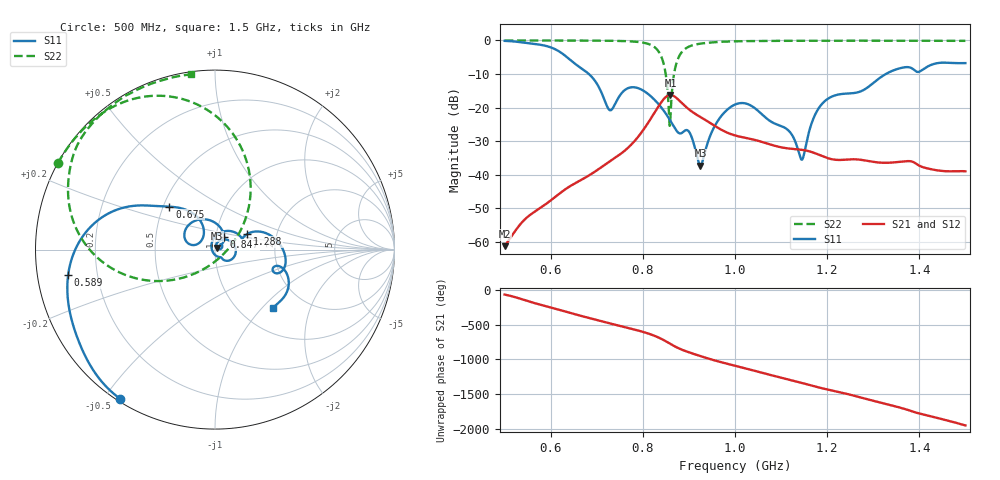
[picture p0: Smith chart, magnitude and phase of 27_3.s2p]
! TOUCHSTONE file generated by CST MICROWAVE STUDIO
! Date and time: Fri Oct 30 08:08:40 2020
! Project name: Scenario_1_Circular_Tissue_out_of_Line.cst
! Parameters = {dy1=104.866; L_HA=400; MT=2.54; Rad_Dielectric=30; Rad_Lower=7.3; Rad_Upper=30; a_HA=580; a_WG=246; b_HA=500; b_WG=121; c_HA=0; c_WG=187; d_feed=85; dx1=520; h_feed=15; h_lower=18; h_upper=40}
! Header version: 2018
! Port assignment regex: !\s*Touchstone port\s*([0-9]+)\s*=\s*(CST MWS port|CST DS port)\s*([0-9]+|Zmin|Zmax)\s*\(\"(.*)\"\)(\s*mode\s*([0-9]+))?.*
! Touchstone port assignment:
! Touchstone port 1 = CST MWS port 1 ("")
! Touchstone port 2 = CST MWS port 2 ("")
# GHz S DB R 50
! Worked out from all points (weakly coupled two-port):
!   1001 points, 500 MHz to 1.5 GHz, reference 50 ohm
!   highest |S21| = -16.26 dB at 860 MHz (marker M1); lowest = -61.3 dB at 500 MHz (marker M2)
!   lowest |S11| = -37.3 dB at 925 MHz (marker M3), VSWR 1.03, Z = 51 + j0.894 ohm
!   |S11| at or under -10 dB: 682.7 MHz to 1.327 GHz (644.8 MHz wide, 64.2 % of centre)
!   |S22| runs from -25.5 to 0.0 dB; largest |S21 - S12| = 6.3e-06
!   S11 on the Smith chart (normalised r, x): 500 MHz: 0.01, -0.55; 589 MHz: 0.09, -0.09; 675 MHz: 0.54, +0.29; 847 MHz: 1.10, +0.15; 1.288 GHz: 1.41, +0.26; 1.5 GHz: 1.40, -1.16
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0.5  -0.13 -122.5  -61.34 -63.4  -61.34 -63.4  -0.01 151.1
0.589  -1.61 -170.1  -48.85 129.5  -48.85 129.5  -0.02 145.0
0.627  -4.10 161.0  -44.84 60.6  -44.84 60.6  -0.03 142.0
0.667  -8.37 140.8  -41.54 -13.3  -41.54 -13.3  -0.04 138.4
0.675  -9.15 136.7  -40.92 -27.2  -40.92 -27.2  -0.05 137.6
0.728  -20.78 141.5  -36.11 -118.5  -36.11 -118.5  -0.10 131.2
0.775  -13.97 142.0  -31.05 163.0  -31.05 163.0  -0.29 121.8
0.834  -18.99 68.4  -19.66 37.1  -19.66 37.1  -3.26 84.2
0.847  -21.26 53.9  -17.24 -6.4  -17.24 -6.4  -8.07 59.8
0.86  -24.02 42.4  -16.26 -56.3  -16.26 -56.3  -22.47 -98.0
0.879  -27.67 42.0  -17.91 -122.4  -17.91 -122.4  -4.66 -169.7
0.901  -27.38 19.8  -20.66 -178.8  -20.66 -178.8  -1.78 167.6
0.925  -37.33 40.1  -22.84 128.9  -22.84 128.9  -0.96 156.0
0.959  -24.80 62.0  -25.72 60.6  -25.72 60.6  -0.50 147.2
1  -19.12 11.7  -28.32 -9.5  -28.32 -9.5  -0.26 140.4
1.113  -26.49 -61.1  -32.16 157.4  -32.16 157.4  -0.12 128.6
1.144  -35.51 -151.7  -32.60 104.2  -32.60 104.2  -0.11 126.1
1.167  -24.41 98.1  -33.30 62.3  -33.30 62.3  -0.10 124.2
1.203  -17.26 48.4  -35.17 3.6  -35.17 3.6  -0.08 121.5
1.288  -13.99 25.8  -35.93 -135.0  -35.93 -135.0  -0.08 115.0
1.334  -9.52 11.4  -36.46 148.6  -36.46 148.6  -0.08 111.5
1.5  -6.76 -45.4  -39.02 -151.4  -39.02 -151.5  -0.13 97.9
